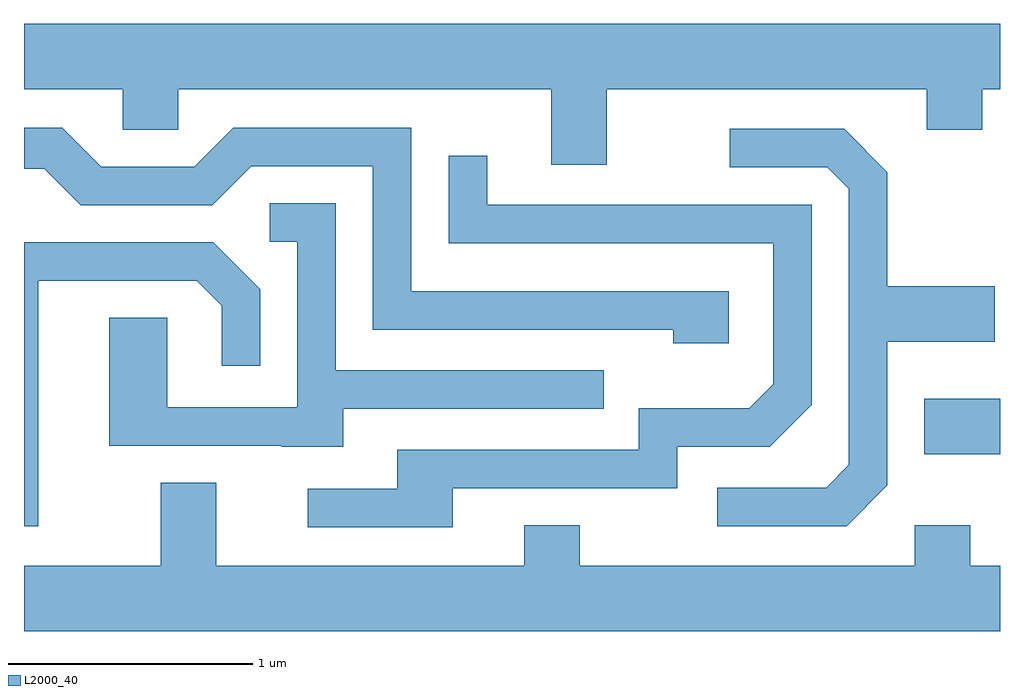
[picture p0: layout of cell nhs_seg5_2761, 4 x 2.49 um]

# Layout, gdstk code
import gdstk
lib = gdstk.Library(unit=1e-6, precision=1e-09)
def R(c, l, rs):  # rectangles x0, y0, x1, y1
    for r in rs: c.add(gdstk.rectangle(r[:2], r[2:], *l))
def P(c, l, *ps):  # polygons
    for p in ps: c.add(gdstk.Polygon(p, *l))
L2000_40 = (2000, 40)

nhs_seg5_2761 = lib.new_cell('nhs_seg5_2761')
R(nhs_seg5_2761, L2000_40, [(271.301,1433.101,271.611,1433.329)])
P(nhs_seg5_2761, L2000_40, [(269.999,1434.596),(271.311,1434.596),(271.311,1434.431),(271.539,1434.431),(271.539,1434.596),(271.611,1434.596),(271.611,1434.864),(267.611,1434.864),(267.611,1434.596),(268.016,1434.596),(268.016,1434.431),(268.244,1434.431),(268.244,1434.596),(269.771,1434.596),(269.771,1434.286),(269.999,1434.286)],
  [(270.499,1433.769),(269.199,1433.769),(269.199,1434.439),(268.469,1434.439),(268.309,1434.279),(267.927,1434.279),(267.767,1434.439),(267.611,1434.439),(267.611,1434.271),(267.694,1434.271),(267.844,1434.121),(268.382,1434.121),(268.542,1434.281),(269.041,1434.281),(269.041,1433.611),(270.271,1433.611),(270.271,1433.556),(270.499,1433.556)],
  [(271.149,1432.974),(271.149,1433.561),(271.589,1433.561),(271.589,1433.789),(271.149,1433.789),(271.149,1434.257),(270.972,1434.434),(270.503,1434.434),(270.503,1434.276),(270.904,1434.276),(270.991,1434.189),(270.991,1433.057),(270.899,1432.964),(270.453,1432.964),(270.453,1432.806),(270.982,1432.806)],
  [(269.369,1432.961),(270.289,1432.961),(270.289,1433.131),(270.667,1433.131),(270.839,1433.304),(270.839,1434.124),(269.509,1434.124),(269.509,1434.323),(269.351,1434.323),(269.351,1433.966),(270.681,1433.966),(270.681,1433.387),(270.584,1433.289),(270.131,1433.289),(270.131,1433.119),(269.141,1433.119),(269.141,1432.959),(268.773,1432.959),(268.773,1432.801),(269.369,1432.801)],
  [(268.919,1433.286),(269.988,1433.286),(269.988,1433.444),(268.889,1433.444),(268.889,1434.129),(268.618,1434.129),(268.618,1433.971),(268.731,1433.971),(268.731,1433.294),(268.199,1433.294),(268.199,1433.659),(267.961,1433.659),(267.961,1433.136),(268.665,1433.136),(268.665,1433.131),(268.919,1433.131)],
  [(267.669,1433.811),(268.319,1433.811),(268.421,1433.709),(268.421,1433.463),(268.579,1433.463),(268.579,1433.777),(268.387,1433.969),(267.611,1433.969),(267.611,1432.806),(267.669,1432.806)],
  [(271.611,1432.644),(271.489,1432.644),(271.489,1432.809),(271.261,1432.809),(271.261,1432.644),(269.889,1432.644),(269.889,1432.809),(269.661,1432.809),(269.661,1432.644),(268.399,1432.644),(268.399,1432.984),(268.171,1432.984),(268.171,1432.644),(267.611,1432.644),(267.611,1432.376),(271.611,1432.376)])

lib.write_gds('nhs_seg5_2761.gds')
